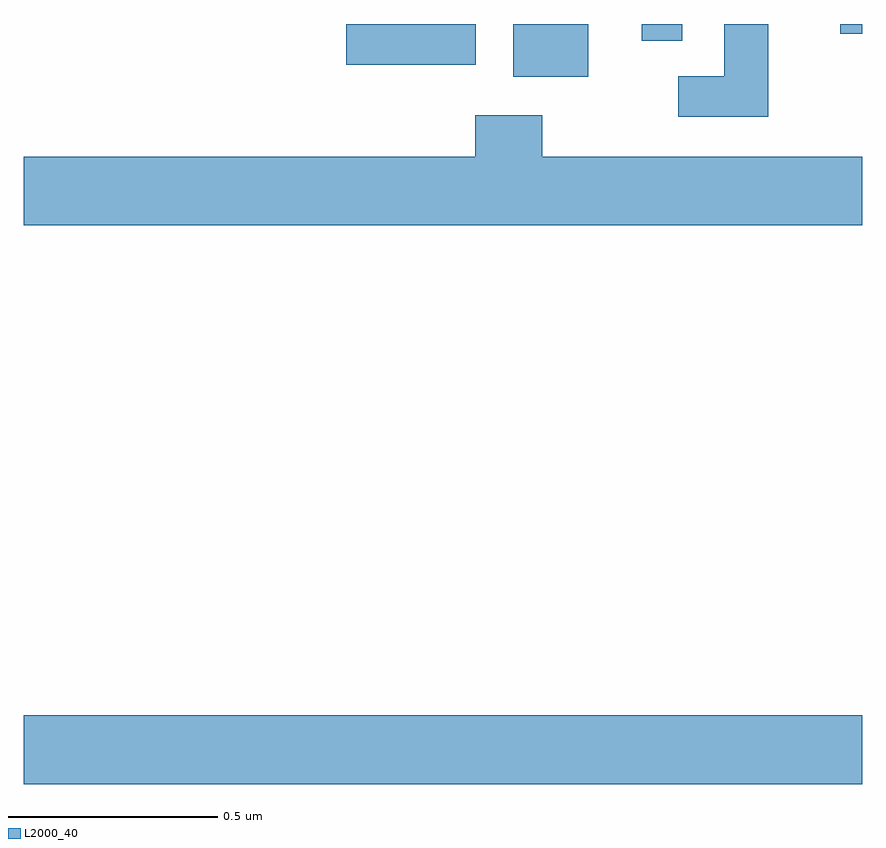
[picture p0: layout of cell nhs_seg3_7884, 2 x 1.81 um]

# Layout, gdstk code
import gdstk
lib = gdstk.Library(unit=1e-6, precision=1e-09)
def R(c, l, rs):  # rectangles x0, y0, x1, y1
    for r in rs: c.add(gdstk.rectangle(r[:2], r[2:], *l))
def P(c, l, *ps):  # polygons
    for p in ps: c.add(gdstk.Polygon(p, *l))
L2000_40 = (2000, 40)

nhs_seg3_7884 = lib.new_cell('nhs_seg3_7884')
R(nhs_seg3_7884, L2000_40, [(209,695.588,211,695.752), (210.167,697.274,210.346,697.4), (209.769,697.303,210.078,697.4), (210.474,697.36,210.57,697.4), (210.947,697.377,211,697.4)])
P(nhs_seg3_7884, L2000_40, [(210.775,697.4),(210.671,697.4),(210.671,697.275),(210.561,697.275),(210.561,697.179),(210.775,697.179)],
  [(211,697.084),(210.237,697.084),(210.237,697.183),(210.077,697.183),(210.077,697.084),(209,697.084),(209,696.92),(211,696.92)])

lib.write_gds('nhs_seg3_7884.gds')
